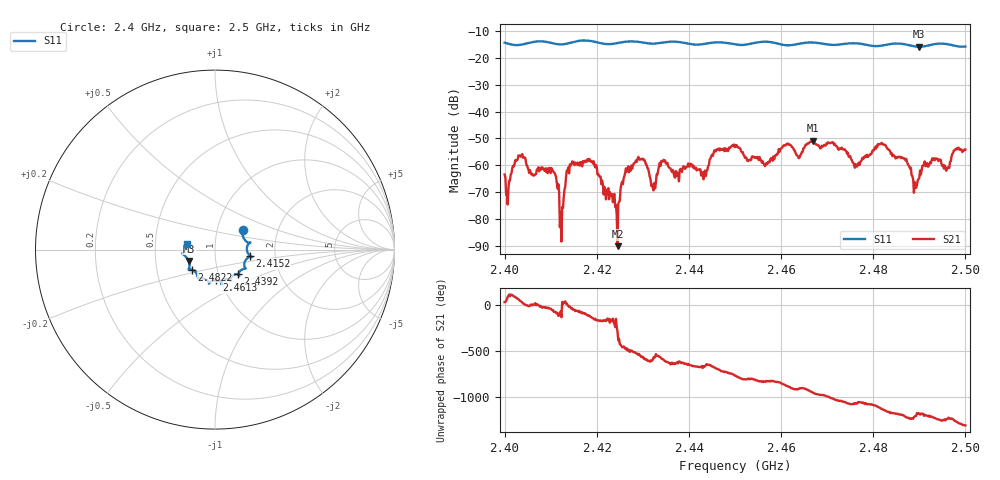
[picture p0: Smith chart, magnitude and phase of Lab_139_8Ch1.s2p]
# Hz S RI R 50
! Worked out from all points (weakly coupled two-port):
!   601 points, 2.4 GHz to 2.5 GHz, reference 50 ohm
!   highest |S21| = -50.80 dB at 2.467 GHz (marker M1); lowest = -90.0 dB at 2.4245 GHz (marker M2)
!   lowest |S11| = -15.9 dB at 2.49 GHz (marker M3), VSWR 1.38, Z = 36.9 - j4.84 ohm
!   |S11| at or under -10 dB: start of sweep to end of sweep
!   S12 and S22 are empty: the file has one direction only
!   S11 on the Smith chart (normalised r, x): 2.4 GHz: 1.33, +0.31; 2.4152 GHz: 1.48, -0.11; 2.4392 GHz: 1.23, -0.35; 2.4613 GHz: 0.96, -0.34; 2.4822 GHz: 0.76, -0.17; 2.5 GHz: 0.73, +0.05
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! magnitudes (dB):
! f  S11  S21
! 2.4 GHz  -14.4  -63.4
! 2.4035 GHz  -15.2  -56.8
! 2.4102 GHz  -14.5  -61.0
! 2.4123 GHz  -15.0  -88.3
! 2.4152 GHz  -14.1  -59.9
! 2.4167 GHz  -13.6  -58.8
! 2.4195 GHz  -14.0  -59.9
! 2.4245 GHz  -14.5  -90.0
! 2.4287 GHz  -14.0  -58.7
! 2.4323 GHz  -14.7  -69.3
! 2.4333 GHz  -14.6  -61.8
! 2.4392 GHz  -14.5  -61.3
! 2.45 GHz  -15.0  -53.2
! 2.4567 GHz  -14.0  -59.9
! 2.4613 GHz  -15.4  -51.9
! 2.4667 GHz  -14.3  -51.2
! 2.467 GHz  -14.3  -50.8
! 2.4765 GHz  -14.6  -60.4
! 2.4822 GHz  -15.4  -52.3
! 2.4833 GHz  -15.0  -54.1
! 2.49 GHz  -15.9  -64.6
! 2.5 GHz  -15.8  -54.1
